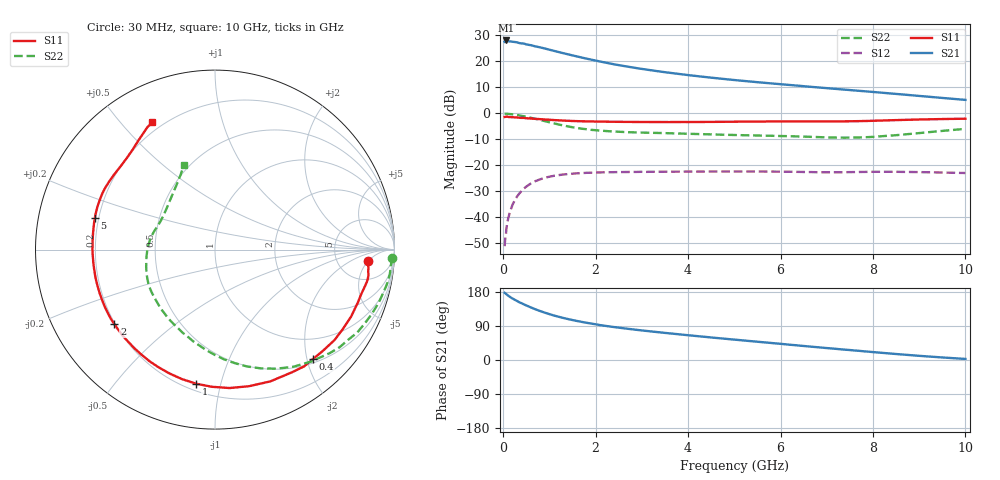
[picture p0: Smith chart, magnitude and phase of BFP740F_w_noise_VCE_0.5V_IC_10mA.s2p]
! Infineon Technologies  Discrete & RF Semiconductors
! BFP740F
! VCE =  0.5 V,  IC =  10 mA
! Common Emitter S-Parameters:  Oct 2012
# GHz  S  MA  R  50
!  f  S11  S21  S12  S22
! GHz  MAG  ANG  MAG  ANG  MAG  ANG  MAG  ANG
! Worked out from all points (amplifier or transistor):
!   99 points, 30 MHz to 10 GHz, reference 50 ohm
!   highest |S21| = 28.1 dB at 70 MHz (marker M1)
!   |S21| within 3 dB of that: start of sweep to 877.9 MHz
!   unconditionally stable (mu >= 1): 6.648 GHz to end of sweep
!   at 350 MHz: K = 0.05, MSG = 28.9 dB, |S12| = -30.8 dB
!   at 3.5 GHz: K = 0.51, MSG = 19.1 dB, |S12| = -22.4 dB
!   at 10 GHz: K = 1.36, MAG = 10.5 dB, |S12| = -22.9 dB
!   lowest NFmin = 0.44 dB at 450 MHz
!   S11 on the Smith chart (normalised r, x): 30 MHz: 10, -5; 400 MHz: 0.57, -2.11; 1 GHz: 0.24, -0.84; 2 GHz: 0.20, -0.32; 5 GHz: 0.18, +0.13; 10 GHz: 0.16, +0.61
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0.03  0.852 -4.2  23.85 177.3  0.0028 83.7  0.9856 -2.6
0.05  0.8607 -6.7  24.82 175.6  0.0043 81.1  0.9849 -4.5
0.07  0.8668 -9.4  25.27 173.4  0.0062 87.2  0.9845 -6.3
0.13  0.8503 -17.8  24.15 167.9  0.0114 82.1  0.9753 -11.9
0.2  0.8452 -26.2  23.86 162.3  0.0174 77.6  0.9594 -17.9
0.3  0.8351 -37.1  23.24 155.7  0.0253 71.3  0.9307 -26.2
0.35  0.8244 -43.2  22.48 152.2  0.0289 68.5  0.9172 -30.3
0.4  0.8183 -48.2  22.17 149.6  0.0326 65.3  0.8947 -34.4
0.45  0.8186 -52.6  22 146.6  0.036 63.1  0.8823 -38.0
0.7  0.7843 -76.1  19.39 133.6  0.05 51.0  0.786 -56.1
0.8  0.7755 -84.0  18.59 129.1  0.0541 46.9  0.7472 -62.6
1  0.7545 -98.1  16.78 121.0  0.0607 39.7  0.675 -74.7
1.3  0.7273 -115.6  14.37 110.9  0.0669 31.3  0.5856 -90.3
1.7  0.7051 -133.4  11.84 100.5  0.0712 23.4  0.5072 -107.7
2  0.6979 -143.4  10.38 94.2  0.0731 19.0  0.4751 -118.7
2.6  0.6873 -158.8  8.181 83.8  0.0746 12.8  0.4397 -135.7
3.4  0.6818 -173.2  6.373 72.8  0.0756 7.4  0.42 -150.7
5  0.6921 165.1  4.383 53.8  0.0764 0.2  0.3844 -173.4
5.1  0.6937 164.0  4.297 52.7  0.0764 -0.2  0.3825 -175.0
6.7  0.7004 145.1  3.22 34.8  0.0743 -5.4  0.3534 162.8
8.5  0.7431 125.0  2.37 15.8  0.0753 -9.4  0.3811 129.5
10  0.7912 116.2  1.818 2.8  0.0714 -13.0  0.5045 110.0
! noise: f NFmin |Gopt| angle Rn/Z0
0.45  0.44  0.22  5  0.24
0.9  0.49  0.22  12  0.16
1.5  0.57  0.22  23  0.1
1.9  0.61  0.21  31  0.07
2.4  0.66  0.21  42  0.06
3.5  0.78  0.18  66  0.09
5.5  0.98  0.1  127  0.1
10  1.39  0.38  -118  0.09
